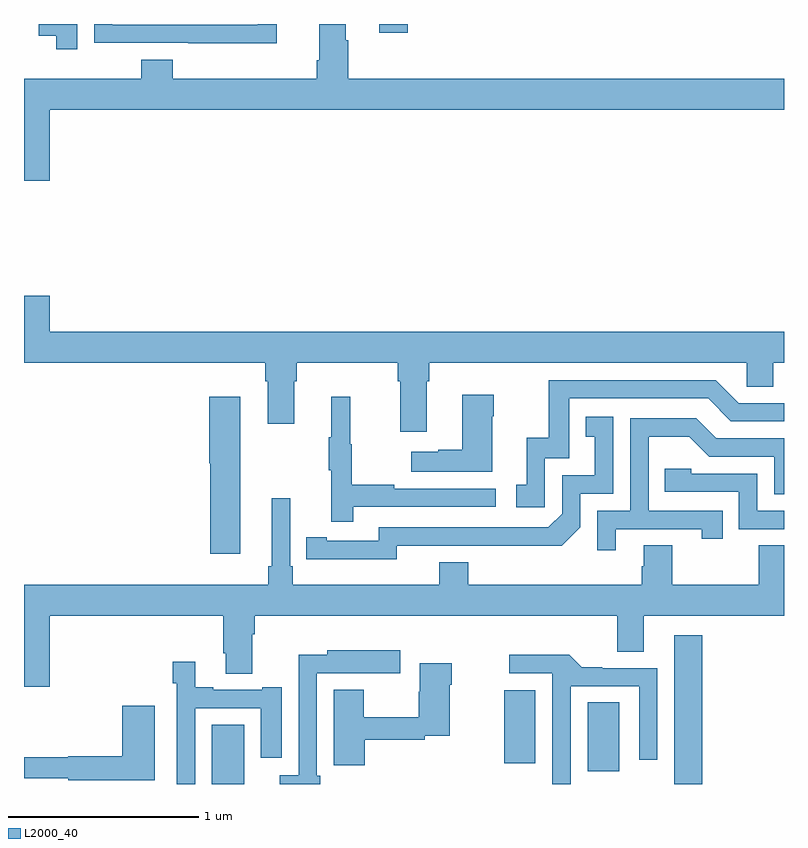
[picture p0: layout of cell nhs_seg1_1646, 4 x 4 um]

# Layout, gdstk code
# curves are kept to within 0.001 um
import gdstk
lib = gdstk.Library(unit=1e-6, precision=1e-09)
def R(c, l, rs):  # rectangles x0, y0, x1, y1
    for r in rs: c.add(gdstk.rectangle(r[:2], r[2:], *l))
def P(c, l, *ps):  # polygons
    for p in ps: c.add(gdstk.Polygon(p, *l))
L2000_40 = (2000, 40)

nhs_seg1_1646 = lib.new_cell('nhs_seg1_1646')
R(nhs_seg1_1646, L2000_40, [(201.989,532.199,202.159,532.51), (204.422,532.199,204.569,532.981), (203.966,532.266,204.133,532.628), (203.528,532.307,203.692,532.693), (202.871,536.154,203.02,536.199)])
P(nhs_seg1_1646, L2000_40, [(201.136,535.748),(205,535.748),(205,535.912),(202.706,535.912),(202.706,536.114),(202.693,536.114),(202.693,536.199),(202.553,536.199),(202.553,536.008),(202.541,536.008),(202.541,535.912),(201.782,535.912),(201.782,536.011),(201.617,536.011),(201.617,535.912),(201,535.912),(201,535.374),(201.136,535.374)],
  [(201.279,536.199),(201.078,536.199),(201.078,536.137),(201.171,536.137),(201.171,536.067),(201.279,536.067)],
  [(202.329,536.199),(202.23,536.199),(202.23,536.196),(201.465,536.196),(201.465,536.199),(201.369,536.199),(201.369,536.1),(201.865,536.1),(201.865,536.099),(202.329,536.099)],
  [(203.119,534.32),(203.132,534.32),(203.132,534.416),(204.804,534.416),(204.804,534.289),(204.943,534.289),(204.943,534.416),(205,534.416),(205,534.58),(201.136,534.58),(201.136,534.769),(201,534.769),(201,534.416),(202.271,534.416),(202.271,534.32),(202.283,534.32),(202.283,534.096),(202.423,534.096),(202.423,534.32),(202.436,534.32),(202.436,534.416),(202.967,534.416),(202.967,534.32),(202.979,534.32),(202.979,534.054),(203.119,534.054)],
  [(203.742,533.913),(203.871,533.913),(203.871,534.228),(204.6,534.228),(204.72,534.108),(205,534.108),(205,534.204),(204.762,534.204),(204.642,534.324),(203.763,534.324),(203.763,534.022),(203.645,534.022),(203.645,533.775),(203.592,533.775),(203.592,533.655),(203.742,533.655)],
  [(203.464,534.134),(203.472,534.134),(203.472,534.247),(203.306,534.247),(203.306,533.957),(203.18,533.957),(203.18,533.947),(203.037,533.947),(203.037,533.843),(203.464,533.843)],
  [(202.138,534.238),(201.974,534.238),(201.974,533.886),(201.98,533.886),(201.98,533.412),(202.138,533.412)],
  [(202.733,533.658),(203.482,533.658),(203.482,533.754),(202.949,533.754),(202.949,533.774),(202.726,533.774),(202.726,533.988),(202.718,533.988),(202.718,534.238),(202.616,534.238),(202.616,534.025),(202.605,534.025),(202.605,533.851),(202.616,533.851),(202.616,533.58),(202.733,533.58)],
  [(202.962,533.454),(203.83,533.453),(203.928,533.55),(203.928,533.727),(204.102,533.727),(204.102,534.133),(203.956,534.133),(203.956,534.027),(204.005,534.027),(204.005,533.823),(203.832,533.823),(203.832,533.622),(203.76,533.55),(202.866,533.55),(202.866,533.478),(202.594,533.478),(202.594,533.498),(202.486,533.498),(202.486,533.382),(202.962,533.381)],
  [(204.115,533.541),(204.566,533.541),(204.566,533.49),(204.677,533.49),(204.677,533.637),(204.288,533.637),(204.288,534.026),(204.502,534.026),(204.606,533.922),(204.948,533.922),(204.948,533.724),(205,533.724),(205,534.018),(204.643,534.018),(204.538,534.123),(204.192,534.123),(204.192,533.637),(204.018,533.637),(204.018,533.43),(204.115,533.43)],
  [(205,533.637),(204.858,533.637),(204.858,533.832),(204.513,533.832),(204.513,533.859),(204.373,533.859),(204.373,533.736),(204.762,533.736),(204.762,533.541),(205,533.541)],
  [(201.136,533.084),(202.049,533.084),(202.049,532.888),(202.061,532.888),(202.061,532.78),(202.201,532.78),(202.201,532.988),(202.214,532.988),(202.214,533.084),(204.122,533.084),(204.122,532.894),(204.262,532.894),(204.262,533.084),(205,533.084),(205,533.456),(204.868,533.456),(204.868,533.248),(204.411,533.248),(204.411,533.456),(204.263,533.456),(204.263,533.346),(204.251,533.346),(204.251,533.248),(203.339,533.248),(203.339,533.365),(203.186,533.365),(203.186,533.248),(202.415,533.248),(202.415,533.344),(202.401,533.344),(202.401,533.704),(202.304,533.704),(202.304,533.344),(202.285,533.344),(202.285,533.248),(201,533.248),(201,532.71),(201.136,532.71)],
  [(202.558,532.242),(202.542,532.242),(202.542,532.782),(202.754,532.782),(202.754,532.781),(202.981,532.781),(202.981,532.903),(202.596,532.903),(202.596,532.88),(202.446,532.88),(202.446,532.246),(202.346,532.246),(202.346,532.199),(202.558,532.199)],
  [(203.877,532.713),(204.237,532.713),(204.237,532.326),(204.333,532.326),(204.333,532.809),(204.043,532.809),(204.043,532.814),(203.935,532.814),(203.87,532.88),(203.553,532.88),(203.553,532.782),(203.781,532.782),(203.781,532.199),(203.877,532.199)],
  [(201.9,532.599),(202.247,532.599),(202.247,532.338),(202.357,532.338),(202.357,532.708),(202.253,532.708),(202.253,532.695),(201.997,532.695),(201.997,532.708),(201.901,532.708),(201.901,532.843),(201.784,532.843),(201.784,532.73),(201.804,532.73),(201.804,532.199),(201.9,532.199)],
  [(202.793,532.432),(203.108,532.432),(203.108,532.452),(203.242,532.452),(203.242,532.721),(203.25,532.721),(203.25,532.834),(203.084,532.834),(203.084,532.685),(203.077,532.685),(203.077,532.551),(202.788,532.551),(202.788,532.696),(202.631,532.696),(202.631,532.299),(202.793,532.299)],
  [(201.688,532.612),(201.518,532.612),(201.518,532.346),(201.234,532.346),(201.234,532.339),(201,532.339),(201,532.23),(201.232,532.23),(201.232,532.218),(201.688,532.218)])

lib.write_gds('nhs_seg1_1646.gds')
